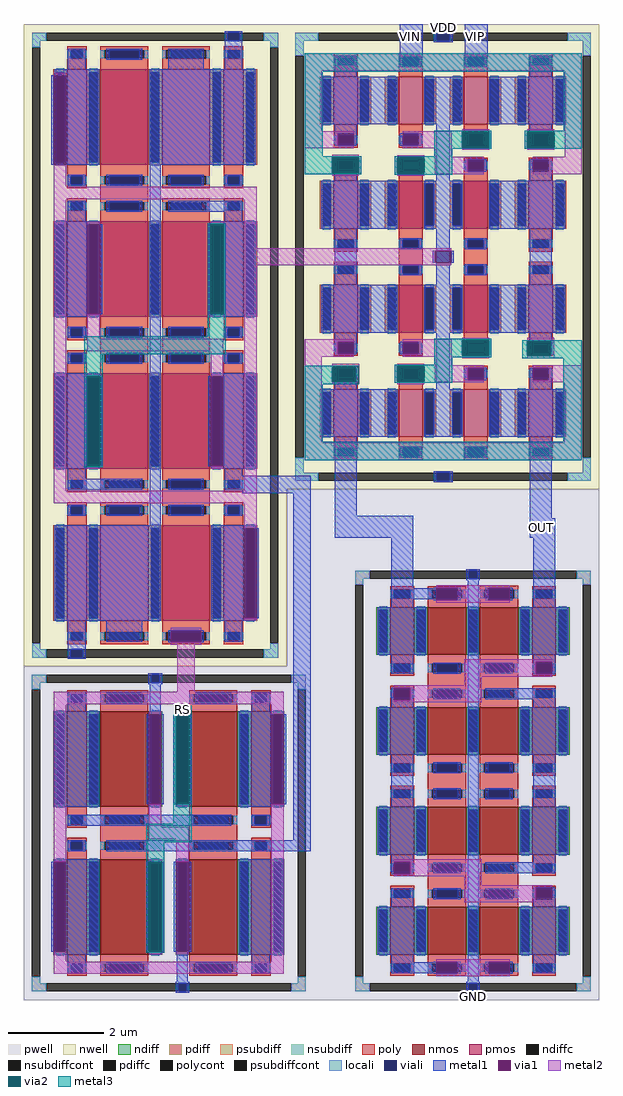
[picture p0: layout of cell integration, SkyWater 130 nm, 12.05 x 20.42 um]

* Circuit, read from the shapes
.subckt integration VDD VIN VIP RS GND OUT
XM1 block1_0/D2 block1_0/D2 block1_0/D2 GND sky130_fd_pr__nfet_01v8 w=2 l=0.41 m=2
XM2 block1_0/D1 block1_0/D1 block1_0/D1 GND sky130_fd_pr__nfet_01v8 w=2 l=0.41 m=2
XM3 RS block1_0/D1 block1_0/D2 GND sky130_fd_pr__nfet_01v8 w=2 l=1 m=2
XM4 GND block1_0/D1 block1_0/D1 GND sky130_fd_pr__nfet_01v8 w=2 l=1 m=2
XM5 block3_0/D6 block3_0/D6 block3_0/D6 GND sky130_fd_pr__nfet_01v8 w=1 l=0.5 m=4
XM6 OUT OUT OUT GND sky130_fd_pr__nfet_01v8 w=1 l=0.5 m=4
XM7 GND block3_0/D6 block3_0/D6 GND sky130_fd_pr__nfet_01v8 w=1 l=0.8 m=4
XM8 GND block3_0/D6 OUT GND sky130_fd_pr__nfet_01v8 w=1 l=0.8 m=4
XM9 VDD VDD VDD VDD sky130_fd_pr__pfet_01v8 w=2 l=0.41 m=2
XM10 block1_0/D2 block1_0/D2 block1_0/D2 VDD sky130_fd_pr__pfet_01v8 w=2 l=0.41 m=2
XM11 block1_0/D1 block1_0/D1 block1_0/D1 VDD sky130_fd_pr__pfet_01v8 w=2 l=0.41 m=2
XM12 block1_0/D5 block1_0/D5 block1_0/D5 VDD sky130_fd_pr__pfet_01v8 w=2 l=0.41 m=2
XM13 VDD VDD VDD VDD sky130_fd_pr__pfet_01v8 w=2 l=1 m=2
XM14 VDD block1_0/D2 block1_0/D2 VDD sky130_fd_pr__pfet_01v8 w=2 l=1 m=2
XM15 VDD block1_0/D2 block1_0/D1 VDD sky130_fd_pr__pfet_01v8 w=2 l=1 m=2
XM16 VDD block1_0/D2 block1_0/D5 VDD sky130_fd_pr__pfet_01v8 w=2 l=1 m=2
XM17 block3_0/D6 block3_0/D6 block3_0/D6 VDD sky130_fd_pr__pfet_01v8 w=1 l=0.5 m=4
XM18 OUT OUT OUT VDD sky130_fd_pr__pfet_01v8 w=1 l=0.5 m=4
XM19 block1_0/D5 VIN block3_0/D6 VDD sky130_fd_pr__pfet_01v8 w=1 l=0.5 m=4
XM20 block1_0/D5 VIP OUT VDD sky130_fd_pr__pfet_01v8 w=1 l=0.5 m=4
.ends

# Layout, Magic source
magic
tech sky130A
magscale 1 2
<< pwell >>
rect 1102 0 2410 740
rect 0 -1397 2410 0
<< metal1 >>
rect 1574 2553 1670 2686
rect 1716 2656 1796 2687
rect 1846 2554 1942 2687
rect 1712 1687 1722 1739
rect 1790 1687 1800 1739
rect 916 723 1202 797
rect 607 99 617 151
rect 743 99 753 151
rect 186 -111 260 -107
rect 1128 -729 1202 723
rect 1302 629 1394 872
rect 1302 537 1630 629
rect 2118 619 2210 872
rect 2118 537 2224 619
rect 1538 325 1630 537
rect 2132 325 2224 537
rect 1030 -775 1202 -729
rect 1852 -1397 1910 -1366
<< via1 >>
rect 1722 1687 1790 1739
rect 617 99 743 151
<< metal2 >>
rect 975 1739 1790 1749
rect 975 1687 1722 1739
rect 975 1677 1790 1687
rect 617 151 743 161
rect 617 89 743 99
rect 643 -108 717 89
<< metal3 >>
rect 627 -196 703 -165
use block1  block1_0 ~/ic_projects/opamp/block1/mag
transform 1 0 228 0 1 89
box -228 -89 874 2597
use block2  block2_0 ~/ic_projects/opamp/block2/mag
transform 1 0 264 0 1 -1295
box -229 -71 917 1265
use block3  block3_0 ~/ic_projects/opamp/block3/mag
transform 1 0 1155 0 1 793
box -53 -53 1255 1893
use block4  block4_0 ~/ic_projects/opamp/block4/mag
transform 1 0 1634 0 1 -1295
box -246 -71 740 1701
<< labels >>
flabel metal1 1756 2673 1756 2673 0 FreeSans 320 0 0 0 VDD
port 0 nsew
flabel metal1 1621 2634 1621 2634 0 FreeSans 320 0 0 0 VIN
port 1 nsew
flabel metal1 1893 2633 1893 2633 0 FreeSans 320 0 0 0 VIP
port 2 nsew
flabel metal3 665 -180 665 -180 0 FreeSans 320 0 0 0 RS
port 3 nsew
flabel metal1 1881 -1381 1881 -1381 0 FreeSans 320 0 0 0 GND
port 4 nsew
flabel metal1 2166 581 2166 581 0 FreeSans 320 0 0 0 OUT
port 5 nsew
<< end >>

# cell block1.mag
magic
tech sky130A
magscale 1 2
<< nwell >>
rect -228 -89 874 2597
<< nsubdiff >>
rect -192 2527 -132 2561
rect 778 2527 838 2561
rect -192 2501 -158 2527
rect 804 2501 838 2527
rect -192 -19 -158 7
rect 804 -19 838 7
rect -192 -53 -132 -19
rect 778 -53 838 -19
<< nsubdiffcont >>
rect -132 2527 778 2561
rect -192 7 -158 2501
rect 804 7 838 2501
rect -132 -53 778 -19
<< poly >>
rect 94 640 294 2505
rect 352 3 552 1869
<< locali >>
rect -192 2527 -132 2561
rect 778 2527 838 2561
rect -192 2501 -158 2527
rect -192 -19 -158 7
rect 804 2501 838 2527
rect 804 -19 838 7
rect -192 -53 -132 -19
rect 778 -53 838 -19
<< viali >>
rect 626 2527 676 2561
rect -30 -53 20 -19
<< metal1 >>
rect 614 2561 688 2567
rect 614 2527 626 2561
rect 676 2527 688 2561
rect -42 2408 32 2495
rect 377 2408 527 2495
rect 614 2408 688 2527
rect -98 2384 88 2408
rect -111 2008 -101 2384
rect -49 2008 88 2384
rect 300 2008 744 2408
rect -42 1772 32 1859
rect -98 1760 88 1772
rect -98 1384 39 1760
rect 91 1384 101 1760
rect -98 1372 88 1384
rect -98 1124 88 1136
rect -98 748 39 1124
rect 91 748 101 1124
rect -98 736 88 748
rect -42 695 32 736
rect -42 649 269 695
rect 300 500 346 2008
rect 377 1813 688 1859
rect 614 1772 688 1813
rect 558 1760 744 1772
rect 545 1384 555 1760
rect 607 1384 744 1760
rect 558 1372 744 1384
rect 558 1124 744 1136
rect 545 748 555 1124
rect 607 748 744 1124
rect 558 736 744 748
rect 614 649 688 736
rect -98 100 346 500
rect 558 488 744 500
rect 558 112 695 488
rect 747 112 757 488
rect 558 100 744 112
rect -42 -19 32 100
rect 119 14 269 100
rect 614 13 688 100
rect -42 -53 -30 -19
rect 20 -53 32 -19
rect -42 -59 32 -53
<< via1 >>
rect -101 2008 -49 2384
rect 39 1384 91 1760
rect 39 748 91 1124
rect 555 1384 607 1760
rect 555 748 607 1124
rect 695 112 747 488
<< metal2 >>
rect -101 2384 -49 2394
rect -101 1916 -49 2008
rect -101 1864 747 1916
rect -101 644 -49 1864
rect 39 1760 91 1770
rect 39 1280 91 1384
rect 553 1760 609 1770
rect 553 1374 609 1384
rect 39 1228 607 1280
rect 37 1124 93 1134
rect 37 738 93 748
rect 555 1124 607 1228
rect 555 738 607 748
rect 695 644 747 1864
rect -101 592 747 644
rect 695 488 747 592
rect 695 102 747 112
<< via2 >>
rect 553 1384 555 1760
rect 555 1384 607 1760
rect 607 1384 609 1760
rect 37 748 39 1124
rect 39 748 91 1124
rect 91 748 93 1124
<< metal3 >>
rect 543 1760 619 1765
rect 543 1384 553 1760
rect 609 1384 619 1760
rect 543 1292 619 1384
rect 27 1216 619 1292
rect 27 1124 103 1216
rect 27 748 37 1124
rect 93 748 103 1124
rect 27 743 103 748
use sky130_fd_pr__pfet_01v8_EZH3Y7  sky130_fd_pr__pfet_01v8_EZH3Y7_0
transform 1 0 651 0 1 1254
box -135 -1254 135 1254
use sky130_fd_pr__pfet_01v8_EZH3Y7  sky130_fd_pr__pfet_01v8_EZH3Y7_1
transform 1 0 -5 0 1 1254
box -135 -1254 135 1254
use sky130_fd_pr__pfet_01v8_SD2LB7  sky130_fd_pr__pfet_01v8_SD2LB7_0
transform 1 0 323 0 1 1254
box -323 -1254 323 1254
<< labels >>
flabel metal1 448 2223 449 2224 0 FreeSans 160 0 0 0 VDD
port 0 nsew
flabel metal1 -10 2214 -9 2215 0 FreeSans 160 0 0 0 D5
port 1 nsew
flabel metal1 -8 1587 -8 1587 0 FreeSans 160 0 0 0 D1
port 2 nsew
flabel metal1 -12 960 -12 960 0 FreeSans 160 0 0 0 D2
port 3 nsew
<< end >>

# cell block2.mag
magic
tech sky130A
magscale 1 2
<< psubdiff >>
rect -229 1225 -169 1259
rect 857 1225 917 1259
rect -229 1199 -195 1225
rect 883 1199 917 1225
rect -229 -31 -195 -5
rect 883 -31 917 -5
rect -229 -65 -169 -31
rect 857 -65 917 -31
<< psubdiffcont >>
rect -169 1225 857 1259
rect -229 -5 -195 1199
rect 883 -5 917 1199
rect -169 -65 857 -31
<< poly >>
rect 58 0 258 1194
rect 430 0 630 1194
<< locali >>
rect -229 1225 -169 1259
rect 857 1225 917 1259
rect -229 1199 -195 1225
rect -229 -31 -195 -5
rect 883 1199 917 1225
rect 883 -31 917 -5
rect -229 -65 -169 -31
rect 857 -65 917 -31
<< viali >>
rect 270 1225 304 1259
rect 384 -65 418 -31
<< metal1 >>
rect 258 1259 316 1265
rect 258 1225 270 1259
rect 304 1225 316 1259
rect 258 1219 316 1225
rect -78 1106 -4 1184
rect 264 1106 310 1219
rect 692 1106 766 1184
rect -134 706 52 1106
rect 636 1094 822 1106
rect 251 718 261 1094
rect 313 718 323 1094
rect 365 718 375 1094
rect 427 718 437 1094
rect 636 718 773 1094
rect 825 718 835 1094
rect 636 706 822 718
rect -78 628 605 674
rect 83 520 766 566
rect -134 476 52 488
rect -147 100 -137 476
rect -85 100 52 476
rect 251 100 261 476
rect 313 100 323 476
rect 365 100 375 476
rect 427 100 437 476
rect -134 88 52 100
rect 636 88 822 488
rect -78 10 -4 88
rect 378 -25 424 88
rect 692 10 766 88
rect 372 -31 430 -25
rect 372 -65 384 -31
rect 418 -65 430 -31
rect 372 -71 430 -65
<< via1 >>
rect 261 718 313 1094
rect 375 718 427 1094
rect 773 718 825 1094
rect -137 100 -85 476
rect 261 100 313 476
rect 375 100 427 476
<< metal2 >>
rect -137 1135 825 1187
rect -137 476 -85 1135
rect 261 1094 313 1104
rect 261 623 313 718
rect 373 1094 429 1104
rect 373 708 429 718
rect 773 1094 825 1135
rect 261 571 427 623
rect -137 59 -85 100
rect 259 476 315 486
rect 259 90 315 100
rect 375 476 427 571
rect 375 90 427 100
rect 773 59 825 718
rect -137 7 825 59
<< via2 >>
rect 373 718 375 1094
rect 375 718 427 1094
rect 427 718 429 1094
rect 259 100 261 476
rect 261 100 313 476
rect 313 100 315 476
<< metal3 >>
rect 363 1094 439 1099
rect 363 718 373 1094
rect 429 718 439 1094
rect 363 635 439 718
rect 249 559 439 635
rect 249 476 325 559
rect 249 100 259 476
rect 315 100 325 476
rect 249 95 325 100
use sky130_fd_pr__nfet_01v8_46AL6M  sky130_fd_pr__nfet_01v8_46AL6M_0
transform 1 0 344 0 1 597
box -344 -597 344 597
use sky130_fd_pr__nfet_01v8_MU6LND  sky130_fd_pr__nfet_01v8_MU6LND_0
transform 1 0 -41 0 1 597
box -99 -597 99 597
use sky130_fd_pr__nfet_01v8_MU6LND  sky130_fd_pr__nfet_01v8_MU6LND_1
transform 1 0 729 0 1 597
box -99 -597 99 597
<< labels >>
flabel metal1 -42 933 -42 933 0 FreeSans 160 0 0 0 D1
port 1 nsew
flabel via1 400 907 400 907 0 FreeSans 160 0 0 0 RS
port 4 nsew
flabel metal1 724 916 724 916 0 FreeSans 160 0 0 0 D2
port 2 nsew
flabel via1 286 902 286 902 0 FreeSans 160 0 0 0 GND
port 0 nsew
<< end >>

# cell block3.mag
magic
tech sky130A
magscale 1 2
<< poly >>
rect 415 505 515 1335
rect 687 505 787 1335
<< viali >>
rect 573 1823 629 1857
rect 573 -17 629 17
<< metal1 >>
rect 561 1857 641 1863
rect 561 1823 573 1857
rect 629 1823 641 1857
rect 561 1817 641 1823
rect 147 1674 239 1761
rect 963 1674 1055 1761
rect 91 1474 409 1674
rect 521 1474 681 1674
rect 793 1474 1111 1674
rect 147 1436 239 1474
rect 147 1387 159 1436
rect 149 1384 159 1387
rect 227 1387 239 1436
rect 421 1433 431 1436
rect 419 1387 431 1433
rect 227 1384 237 1387
rect 421 1384 431 1387
rect 499 1433 509 1436
rect 499 1387 511 1433
rect 499 1384 509 1387
rect 149 1325 159 1328
rect 147 1276 159 1325
rect 227 1325 237 1328
rect 421 1325 431 1328
rect 227 1276 239 1325
rect 419 1279 431 1325
rect 421 1276 431 1279
rect 499 1325 509 1328
rect 499 1279 511 1325
rect 499 1276 509 1279
rect 147 1238 239 1276
rect 573 1238 629 1474
rect 963 1436 1055 1474
rect 693 1433 703 1436
rect 691 1387 703 1433
rect 693 1384 703 1387
rect 771 1433 781 1436
rect 771 1387 783 1433
rect 963 1387 975 1436
rect 771 1384 781 1387
rect 965 1384 975 1387
rect 1043 1387 1055 1436
rect 1043 1384 1053 1387
rect 693 1325 703 1328
rect 691 1279 703 1325
rect 693 1276 703 1279
rect 771 1325 781 1328
rect 965 1325 975 1328
rect 771 1279 783 1325
rect 771 1276 781 1279
rect 963 1276 975 1325
rect 1043 1325 1053 1328
rect 1043 1276 1055 1325
rect 963 1238 1055 1276
rect 91 1038 409 1238
rect 567 1038 635 1238
rect 793 1038 1111 1238
rect 147 802 239 1038
rect 573 802 629 1038
rect 963 802 1055 1038
rect 91 602 409 802
rect 567 602 635 802
rect 793 602 1111 802
rect 147 564 239 602
rect 147 515 159 564
rect 149 512 159 515
rect 227 515 239 564
rect 227 512 237 515
rect 421 512 431 564
rect 499 512 509 564
rect 149 453 159 456
rect 147 404 159 453
rect 227 453 237 456
rect 227 404 239 453
rect 421 404 431 456
rect 499 404 509 456
rect 147 366 239 404
rect 573 366 629 602
rect 963 564 1055 602
rect 693 512 703 564
rect 771 512 781 564
rect 963 515 975 564
rect 965 512 975 515
rect 1043 515 1055 564
rect 1043 512 1053 515
rect 693 404 703 456
rect 771 404 781 456
rect 965 453 975 456
rect 963 404 975 453
rect 1043 453 1053 456
rect 1043 404 1055 453
rect 963 366 1055 404
rect 91 166 409 366
rect 567 166 635 366
rect 793 166 1111 366
rect 147 79 239 166
rect 963 79 1055 166
rect 561 17 641 23
rect 561 -17 573 17
rect 629 -17 641 17
rect 561 -23 641 -17
<< via1 >>
rect 159 1384 227 1436
rect 431 1384 499 1436
rect 159 1276 227 1328
rect 431 1276 499 1328
rect 703 1384 771 1436
rect 975 1384 1043 1436
rect 703 1276 771 1328
rect 975 1276 1043 1328
rect 159 512 227 564
rect 431 512 499 564
rect 159 404 227 456
rect 431 404 499 456
rect 703 512 771 564
rect 975 512 1043 564
rect 703 404 771 456
rect 975 404 1043 456
<< metal2 >>
rect 21 1699 1181 1771
rect 21 1446 93 1699
rect 21 1436 227 1446
rect 21 1384 159 1436
rect 21 1374 227 1384
rect 431 1436 637 1446
rect 499 1384 637 1436
rect 431 1374 637 1384
rect 137 1336 248 1346
rect 137 1260 248 1270
rect 409 1335 521 1345
rect 409 1259 521 1269
rect 565 1338 637 1374
rect 681 1443 793 1453
rect 681 1367 793 1377
rect 953 1443 1065 1453
rect 953 1367 1065 1377
rect 1109 1338 1181 1699
rect 565 1328 771 1338
rect 565 1276 703 1328
rect 565 1266 771 1276
rect 975 1328 1181 1338
rect 1043 1276 1181 1328
rect 975 1266 1181 1276
rect 21 564 227 574
rect 21 512 159 564
rect 21 502 227 512
rect 431 564 637 574
rect 499 512 637 564
rect 431 502 637 512
rect 21 141 93 502
rect 137 458 249 473
rect 236 397 249 458
rect 137 387 249 397
rect 409 463 521 473
rect 409 387 521 397
rect 565 466 637 502
rect 681 571 793 581
rect 681 495 793 505
rect 953 566 1065 581
rect 1052 505 1065 566
rect 953 495 1065 505
rect 565 456 771 466
rect 565 404 703 456
rect 565 394 771 404
rect 975 456 1180 466
rect 1043 404 1180 456
rect 975 394 1180 404
rect 1108 141 1180 394
rect 21 69 1180 141
<< via2 >>
rect 137 1328 248 1336
rect 137 1276 159 1328
rect 159 1276 227 1328
rect 227 1276 248 1328
rect 137 1270 248 1276
rect 409 1328 521 1335
rect 409 1276 431 1328
rect 431 1276 499 1328
rect 499 1276 521 1328
rect 409 1269 521 1276
rect 681 1436 793 1443
rect 681 1384 703 1436
rect 703 1384 771 1436
rect 771 1384 793 1436
rect 681 1377 793 1384
rect 953 1436 1065 1443
rect 953 1384 975 1436
rect 975 1384 1043 1436
rect 1043 1384 1065 1436
rect 953 1377 1065 1384
rect 137 456 236 458
rect 137 404 159 456
rect 159 404 227 456
rect 227 404 236 456
rect 137 397 236 404
rect 409 456 521 463
rect 409 404 431 456
rect 431 404 499 456
rect 499 404 521 456
rect 409 397 521 404
rect 681 564 793 571
rect 681 512 703 564
rect 703 512 771 564
rect 771 512 793 564
rect 681 505 793 512
rect 953 564 1052 566
rect 953 512 975 564
rect 975 512 1043 564
rect 1043 512 1052 564
rect 953 505 1052 512
<< metal3 >>
rect 21 1695 1181 1771
rect 21 1341 97 1695
rect 1105 1448 1181 1695
rect 563 1443 803 1448
rect 563 1377 681 1443
rect 793 1377 803 1443
rect 563 1372 803 1377
rect 943 1443 1181 1448
rect 943 1377 953 1443
rect 1065 1377 1181 1443
rect 943 1372 1181 1377
rect 21 1336 258 1341
rect 563 1340 639 1372
rect 21 1270 137 1336
rect 248 1270 258 1336
rect 21 1265 258 1270
rect 399 1335 639 1340
rect 399 1269 409 1335
rect 521 1269 639 1335
rect 399 1264 639 1269
rect 563 571 803 576
rect 563 505 681 571
rect 793 505 803 571
rect 563 500 803 505
rect 932 566 1180 571
rect 932 505 953 566
rect 1052 505 1180 566
rect 563 468 639 500
rect 932 495 1180 505
rect 399 463 639 468
rect 21 458 248 463
rect 21 397 137 458
rect 236 397 248 458
rect 21 387 248 397
rect 399 397 409 463
rect 521 397 639 463
rect 399 392 639 397
rect 21 145 97 387
rect 1104 145 1180 495
rect 21 69 1180 145
use sky130_fd_pr__pfet_01v8_BHMD29  sky130_fd_pr__pfet_01v8_BHMD29_0
transform 1 0 601 0 1 920
box -654 -973 654 973
<< labels >>
flabel metal1 602 1570 602 1570 0 FreeSans 160 0 0 0 D5
port 0 nsew
flabel via1 466 1410 466 1410 0 FreeSans 160 0 0 0 VIN
port 1 nsew
flabel via2 740 1410 740 1410 0 FreeSans 160 0 0 0 VIP
port 2 nsew
flabel metal1 188 1577 188 1577 0 FreeSans 160 0 0 0 D6
port 3 nsew
flabel metal1 1011 1579 1011 1579 0 FreeSans 160 0 0 0 OUT
port 4 nsew
flabel viali 601 1842 601 1842 0 FreeSans 160 0 0 0 VDD
port 5 nsew
<< end >>

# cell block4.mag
magic
tech sky130A
magscale 1 2
<< psubdiff >>
rect -246 1661 -186 1695
rect 680 1661 740 1695
rect -246 1635 -212 1661
rect 706 1635 740 1661
rect -246 -31 -212 -5
rect 706 -31 740 -5
rect -246 -65 -186 -31
rect 680 -65 740 -31
<< psubdiffcont >>
rect -186 1661 680 1695
rect -246 -5 -212 1635
rect 706 -5 740 1635
rect -186 -65 680 -31
<< poly >>
rect 58 -1 218 1630
rect 276 0 436 1631
<< locali >>
rect -246 1661 -186 1695
rect 680 1661 740 1695
rect -246 1635 -212 1661
rect -246 -31 -212 -5
rect 706 1635 740 1661
rect 706 -31 740 -5
rect -246 -65 -186 -31
rect 680 -65 740 -31
<< viali >>
rect 230 1661 264 1695
rect 230 -65 264 -31
<< metal1 >>
rect 218 1695 276 1701
rect 218 1661 230 1695
rect 264 1661 276 1695
rect 218 1655 276 1661
rect 83 1620 93 1623
rect -96 1574 93 1620
rect -96 1542 -4 1574
rect 83 1571 93 1574
rect 183 1620 193 1623
rect 183 1574 195 1620
rect 183 1571 193 1574
rect -152 1342 52 1542
rect -96 1264 -4 1342
rect -94 1202 -84 1205
rect -96 1153 -84 1202
rect -16 1202 -6 1205
rect -16 1153 -4 1202
rect -96 1124 -4 1153
rect -152 924 52 1124
rect -96 706 -4 924
rect -152 506 52 706
rect -96 477 -4 506
rect -96 429 -84 477
rect -94 425 -84 429
rect -16 429 -4 477
rect -16 425 -6 429
rect -96 288 -4 366
rect -152 88 52 288
rect -96 56 -4 88
rect 83 56 93 59
rect -96 10 93 56
rect 83 7 93 10
rect 183 56 193 59
rect 183 10 195 56
rect 183 7 193 10
rect 224 -25 270 1655
rect 301 1571 311 1623
rect 401 1571 411 1623
rect 498 1542 590 1620
rect 442 1342 646 1542
rect 498 1313 590 1342
rect 498 1264 510 1313
rect 500 1261 510 1264
rect 578 1264 590 1313
rect 578 1261 588 1264
rect 299 1156 590 1202
rect 498 1124 590 1156
rect 442 924 646 1124
rect 498 706 590 924
rect 442 506 646 706
rect 498 474 590 506
rect 299 428 590 474
rect 500 366 510 369
rect 498 317 510 366
rect 578 366 588 369
rect 578 317 590 366
rect 498 288 590 317
rect 442 88 646 288
rect 301 7 311 59
rect 401 7 411 59
rect 498 10 590 88
rect 218 -31 276 -25
rect 218 -65 230 -31
rect 264 -65 276 -31
rect 218 -71 276 -65
<< via1 >>
rect 93 1571 183 1623
rect -84 1153 -16 1205
rect -84 425 -16 477
rect 93 7 183 59
rect 311 1571 401 1623
rect 510 1261 578 1313
rect 510 317 578 369
rect 311 7 401 59
<< metal2 >>
rect 93 1623 401 1633
rect 183 1571 311 1623
rect 93 1561 401 1571
rect 211 1313 578 1323
rect 211 1261 510 1313
rect 211 1251 578 1261
rect 211 1215 283 1251
rect -84 1205 283 1215
rect -16 1153 283 1205
rect -84 1143 283 1153
rect -84 477 283 487
rect -16 425 283 477
rect -84 415 283 425
rect 211 379 283 415
rect 211 369 578 379
rect 211 317 510 369
rect 211 307 578 317
rect 93 59 401 69
rect 183 7 311 59
rect 93 -3 401 7
use sky130_fd_pr__nfet_01v8_FZ7FED  sky130_fd_pr__nfet_01v8_FZ7FED_0
transform 1 0 247 0 1 815
box -247 -815 247 815
use sky130_fd_pr__nfet_01v8_V6EN4H  sky130_fd_pr__nfet_01v8_V6EN4H_0
transform 1 0 -50 0 1 815
box -108 -815 108 815
use sky130_fd_pr__nfet_01v8_V6EN4H  sky130_fd_pr__nfet_01v8_V6EN4H_1
transform 1 0 544 0 1 815
box -108 -815 108 815
<< labels >>
flabel poly 134 1434 134 1434 0 FreeSans 160 0 0 0 D6
port 0 nsew
flabel metal1 544 1454 544 1454 0 FreeSans 160 0 0 0 OUT
port 1 nsew
flabel metal1 246 1444 246 1444 0 FreeSans 160 0 0 0 GND
port 3 nsew
<< end >>

# cell sky130_fd_pr__nfet_01v8_FZ7FED: kit device sky130_fd_pr__nfet_01v8, w 1 l 0.8 m 4 nf 2 diffcov 100 polycov 100 guard 0 glc 1 grc 1 gtc 1 gbc 1 tbcov 100 rlcov 100 topc 1 botc 1 poverlap 0 doverlap 1 lmin 0.15 wmin 0.42 compatible {sky130_fd_pr__nfet_01v8 sky130_fd_pr__nfet_01v8_lvt sky130_fd_bs_flash__special_sonosfet_star sky130_fd_pr__nfet_g5v0d10v5 sky130_fd_pr__nfet_05v0_nvt sky130_fd_pr__nfet_03v3_nvt} full_metal 1 viasrc 100 viadrn 100 viagate 70 viagb 0 viagr 0 viagl 0 viagt 0

# cell sky130_fd_pr__nfet_01v8_V6EN4H: kit device sky130_fd_pr__nfet_01v8, w 1 l 0.50 m 4 nf 1 diffcov 100 polycov 100 guard 0 glc 1 grc 1 gtc 1 gbc 1 tbcov 100 rlcov 100 topc 1 botc 1 poverlap 0 doverlap 1 lmin 0.15 wmin 0.42 compatible {sky130_fd_pr__nfet_01v8 sky130_fd_pr__nfet_01v8_lvt sky130_fd_bs_flash__special_sonosfet_star sky130_fd_pr__nfet_g5v0d10v5 sky130_fd_pr__nfet_05v0_nvt sky130_fd_pr__nfet_03v3_nvt} full_metal 1 viasrc 100 viadrn 100 viagate 100 viagb 0 viagr 0 viagl 0 viagt 0

# cell sky130_fd_pr__pfet_01v8_BHMD29: kit device sky130_fd_pr__pfet_01v8, w 1 l 0.5 m 4 nf 4 diffcov 100 polycov 100 guard 1 glc 1 grc 1 gtc 1 gbc 1 tbcov 100 rlcov 100 topc 1 botc 1 poverlap 0 doverlap 0 lmin 0.15 wmin 0.42 compatible {sky130_fd_pr__pfet_01v8 sky130_fd_pr__pfet_01v8_lvt sky130_fd_pr__pfet_01v8_hvt sky130_fd_pr__pfet_g5v0d10v5} full_metal 1 viasrc 100 viadrn 100 viagate 100 viagb 0 viagr 0 viagl 0 viagt 0

# cell sky130_fd_pr__nfet_01v8_46AL6M: kit device sky130_fd_pr__nfet_01v8, w 2 l 1 m 2 nf 2 diffcov 100 polycov 100 guard 0 glc 1 grc 1 gtc 1 gbc 1 tbcov 100 rlcov 100 topc 1 botc 1 poverlap 0 doverlap 0 lmin 0.15 wmin 0.42 compatible {sky130_fd_pr__nfet_01v8 sky130_fd_pr__nfet_01v8_lvt sky130_fd_bs_flash__special_sonosfet_star sky130_fd_pr__nfet_g5v0d10v5 sky130_fd_pr__nfet_05v0_nvt sky130_fd_pr__nfet_03v3_nvt} full_metal 1 viasrc 100 viadrn 100 viagate 75 viagb 0 viagr 0 viagl 0 viagt 0

# cell sky130_fd_pr__nfet_01v8_MU6LND: kit device sky130_fd_pr__nfet_01v8, w 2 l 0.41 m 2 nf 1 diffcov 100 polycov 100 guard 0 glc 1 grc 1 gtc 1 gbc 1 tbcov 100 rlcov 100 topc 1 botc 1 poverlap 0 doverlap 1 lmin 0.15 wmin 0.42 compatible {sky130_fd_pr__nfet_01v8 sky130_fd_pr__nfet_01v8_lvt sky130_fd_bs_flash__special_sonosfet_star sky130_fd_pr__nfet_g5v0d10v5 sky130_fd_pr__nfet_05v0_nvt sky130_fd_pr__nfet_03v3_nvt} full_metal 1 viasrc 100 viadrn 100 viagate 100 viagb 0 viagr 0 viagl 0 viagt 0

# cell sky130_fd_pr__pfet_01v8_EZH3Y7: kit device sky130_fd_pr__pfet_01v8, w 2 l 0.41 m 4 nf 1 diffcov 100 polycov 100 guard 0 glc 1 grc 1 gtc 1 gbc 1 tbcov 100 rlcov 100 topc 1 botc 1 poverlap 0 doverlap 1 lmin 0.15 wmin 0.42 compatible {sky130_fd_pr__pfet_01v8 sky130_fd_pr__pfet_01v8_lvt sky130_fd_pr__pfet_01v8_hvt sky130_fd_pr__pfet_g5v0d10v5} full_metal 1 viasrc 100 viadrn 100 viagate 100 viagb 0 viagr 0 viagl 0 viagt 0

# cell sky130_fd_pr__pfet_01v8_SD2LB7: kit device sky130_fd_pr__pfet_01v8, w 2 l 1 m 4 nf 2 diffcov 100 polycov 100 guard 0 glc 1 grc 1 gtc 1 gbc 1 tbcov 100 rlcov 100 topc 1 botc 1 poverlap 0 doverlap 1 lmin 0.15 wmin 0.42 compatible {sky130_fd_pr__pfet_01v8 sky130_fd_pr__pfet_01v8_lvt sky130_fd_pr__pfet_01v8_hvt sky130_fd_pr__pfet_g5v0d10v5} full_metal 1 viasrc 100 viadrn 100 viagate 75 viagb 0 viagr 0 viagl 0 viagt 0
